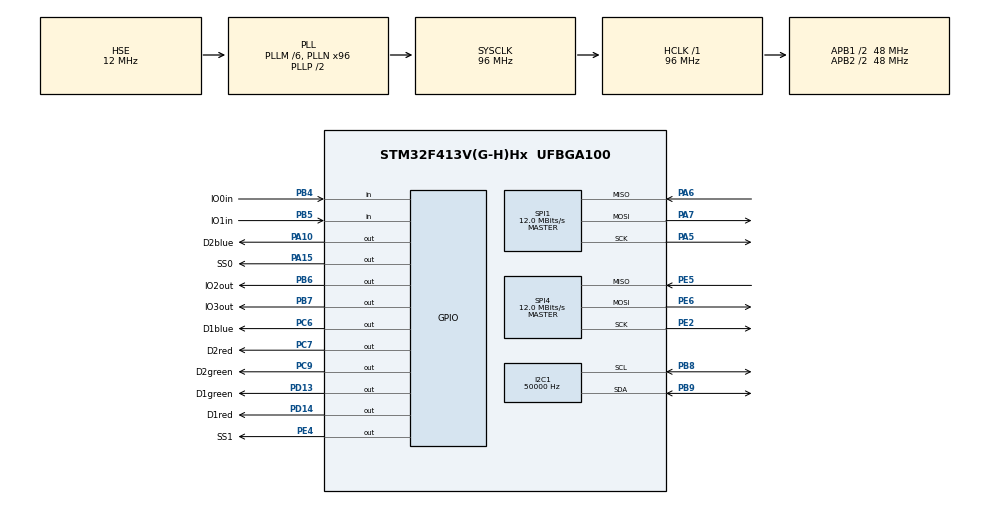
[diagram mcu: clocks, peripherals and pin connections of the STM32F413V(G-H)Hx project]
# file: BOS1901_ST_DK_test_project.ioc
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I2C1.ClockSpeed=50000
I2C1.I2C_Mode=I2C_Standard
Mcu.Family=STM32F4
Mcu.Name=STM32F413V(G-H)Hx
Mcu.Package=UFBGA100
NVIC.PriorityGroup=NVIC_PRIORITYGROUP_4
NVIC.TIM2_IRQn=true\:0\:0\:false\:false\:true\:true\:true
PA10.GPIO_Label=D2blue
PA10.PinState=GPIO_PIN_SET
PA10.Signal=GPIO_Output
PA13.Mode=Serial_Wire
PA13.Signal=SYS_JTMS-SWDIO
PA14.Mode=Serial_Wire
PA14.Signal=SYS_JTCK-SWCLK
PA15.GPIO_Label=SS0
PA15.GPIO_Speed=GPIO_SPEED_FREQ_VERY_HIGH
PA15.PinState=GPIO_PIN_SET
PA15.Signal=GPIO_Output
PA5.Mode=Full_Duplex_Master
PA5.Signal=SPI1_SCK
PA6.Mode=Full_Duplex_Master
PA6.Signal=SPI1_MISO
PA7.Mode=Full_Duplex_Master
PA7.Signal=SPI1_MOSI
PB4.GPIO_Label=IO0in
PB4.Signal=GPIO_Input
PB5.GPIO_Label=IO1in
PB5.Signal=GPIO_Input
PB6.GPIO_Label=IO2out
PB6.Signal=GPIO_Output
PB7.GPIO_Label=IO3out
PB7.Signal=GPIO_Output
PB8.Mode=I2C
PB8.Signal=I2C1_SCL
PB9.Mode=I2C
PB9.Signal=I2C1_SDA
PC6.GPIO_Label=D1blue
PC6.PinState=GPIO_PIN_SET
PC6.Signal=GPIO_Output
PC7.GPIO_Label=D2red
PC7.PinState=GPIO_PIN_SET
PC7.Signal=GPIO_Output
PC9.GPIO_Label=D2green
PC9.PinState=GPIO_PIN_SET
PC9.Signal=GPIO_Output
PD13.GPIO_Label=D1green
PD13.PinState=GPIO_PIN_SET
PD13.Signal=GPIO_Output
PD14.GPIO_Label=D1red
PD14.PinState=GPIO_PIN_SET
PD14.Signal=GPIO_Output
PE2.Mode=Full_Duplex_Master
PE2.Signal=SPI4_SCK
PE4.GPIO_Label=SS1
PE4.GPIO_Speed=GPIO_SPEED_FREQ_VERY_HIGH
PE4.PinState=GPIO_PIN_SET
PE4.Signal=GPIO_Output
PE5.Mode=Full_Duplex_Master
PE5.Signal=SPI4_MISO
PE6.Mode=Full_Duplex_Master
PE6.Signal=SPI4_MOSI
PH0\ -\ OSC_IN.Mode=HSE-External-Clock-Source
PH0\ -\ OSC_IN.Signal=RCC_OSC_IN
PH1\ -\ OSC_OUT.Mode=HSE-External-Clock-Source
PH1\ -\ OSC_OUT.Signal=RCC_OSC_OUT
ProjectManager.HeapSize=0x200
ProjectManager.StackSize=0x400
ProjectManager.TargetToolchain=STM32CubeIDE
RCC.AHBFreq_Value=96000000
RCC.APB1CLKDivider=RCC_HCLK_DIV2
RCC.APB1Freq_Value=48000000
RCC.APB1TimFreq_Value=96000000
RCC.APB2CLKDivider=RCC_HCLK_DIV2
RCC.APB2Freq_Value=48000000
RCC.APB2TimFreq_Value=96000000
RCC.CortexFreq_Value=96000000
RCC.HCLKFreq_Value=96000000
RCC.HSE_VALUE=12000000
RCC.PLLM=6
RCC.PLLN=96
RCC.PLLSourceVirtual=RCC_PLLSOURCE_HSE
RCC.SYSCLKFreq_VALUE=96000000
RCC.SYSCLKSource=RCC_SYSCLKSOURCE_PLLCLK
RCC.USBFreq_Value=96000000
RCC.VCOOutputFreq_Value=192000000
SPI1.BaudRatePrescaler=SPI_BAUDRATEPRESCALER_4
SPI1.CalculateBaudRate=12.0 MBits/s
SPI1.DataSize=SPI_DATASIZE_16BIT
SPI1.Direction=SPI_DIRECTION_2LINES
SPI1.Mode=SPI_MODE_MASTER
SPI1.VirtualType=VM_MASTER
SPI4.BaudRatePrescaler=SPI_BAUDRATEPRESCALER_4
SPI4.CalculateBaudRate=12.0 MBits/s
SPI4.DataSize=SPI_DATASIZE_16BIT
SPI4.Direction=SPI_DIRECTION_2LINES
SPI4.Mode=SPI_MODE_MASTER
SPI4.VirtualType=VM_MASTER
TIM2.AutoReloadPreload=TIM_AUTORELOAD_PRELOAD_ENABLE
TIM2.CounterMode=TIM_COUNTERMODE_UP
TIM2.Period=125-1
TIM2.Prescaler=96-1
VP_TIM2_VS_ClockSourceINT.Mode=Internal
board=custom

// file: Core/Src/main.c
/* USER CODE BEGIN Header */
/**
  ******************************************************************************
  * @file           : main.c
  * @brief          : Main program body
  ******************************************************************************
  * @attention
  *
  * Copyright (c) 2021 STMicroelectronics.
  * All rights reserved.
  *
  * This software is licensed under terms that can be found in the LICENSE file
  * in the root directory of this software component.
  * If no LICENSE file comes with this software, it is provided AS-IS.
  *
  ******************************************************************************
  */
/* USER CODE END Header */
#include "main.h"

/* USER CODE BEGIN Includes */

#include <stdint.h>

#include "example.h"

#include "spi.h"
#include "ledEx.h"
#include "gpioEx.h"
#include "timeEx.h"

/* USER CODE END Includes */

I2C_HandleTypeDef hi2c1;

SPI_HandleTypeDef hspi1;
SPI_HandleTypeDef hspi4;

TIM_HandleTypeDef htim2;

/* USER CODE BEGIN PV */

/********************************************************
*					    VARIABLES
********************************************************/
volatile uint32_t timer2DefaultPeriod = 0;
volatile uint32_t timer2NewPeriod = 0;

/* USER CODE END PV */

void SystemClock_Config(void);
static void MX_GPIO_Init(void);
static void MX_TIM2_Init(void);
static void MX_SPI1_Init(void);
static void MX_I2C1_Init(void);
static void MX_SPI4_Init(void);

/* USER CODE BEGIN 0 */

/********************************************************
*						MAIN
********************************************************/

/* USER CODE END 0 */

int main(void)
{

  /* MCU Configuration--------------------------------------------------------*/

  /* Reset of all peripherals, Initializes the Flash interface and the Systick. */
  HAL_Init();

  /* Configure the system clock */
  SystemClock_Config();

  /* Initialize all configured peripherals */
  MX_GPIO_Init();
  MX_TIM2_Init();
  MX_SPI1_Init();
  MX_I2C1_Init();
  MX_SPI4_Init();
  /* USER CODE BEGIN 2 */

  HAL_TIM_Base_Start_IT(&htim2);

    spiInit();		    // Init SPI Configuration
    ioExpanderConfig(); // Init IoExpander for BOS1901 channel LEDs

  /* USER CODE END 2 */

  /* Infinite loop */
  /* USER CODE BEGIN WHILE */

    // colors testing
	ledExWrite(LEDEX_D1, color_green);

	// run example code
	example();

	/* USER CODE END WHILE */

}

void SystemClock_Config(void)
{
  RCC_OscInitTypeDef RCC_OscInitStruct = {0};
  RCC_ClkInitTypeDef RCC_ClkInitStruct = {0};

  /** Configure the main internal regulator output voltage
  */
  __HAL_RCC_PWR_CLK_ENABLE();
  __HAL_PWR_VOLTAGESCALING_CONFIG(PWR_REGULATOR_VOLTAGE_SCALE1);
  /** Initializes the RCC Oscillators according to the specified parameters
  * in the RCC_OscInitTypeDef structure.
  */
  RCC_OscInitStruct.OscillatorType = RCC_OSCILLATORTYPE_HSE;
  RCC_OscInitStruct.HSEState = RCC_HSE_BYPASS;
  RCC_OscInitStruct.PLL.PLLState = RCC_PLL_ON;
  RCC_OscInitStruct.PLL.PLLSource = RCC_PLLSOURCE_HSE;
  RCC_OscInitStruct.PLL.PLLM = 6;
  RCC_OscInitStruct.PLL.PLLN = 96;
  RCC_OscInitStruct.PLL.PLLP = RCC_PLLP_DIV2;
  RCC_OscInitStruct.PLL.PLLQ = 2;
  RCC_OscInitStruct.PLL.PLLR = 2;
  if (HAL_RCC_OscConfig(&RCC_OscInitStruct) != HAL_OK)
  {
    Error_Handler();
  }
  /** Initializes the CPU, AHB and APB buses clocks
  */
  RCC_ClkInitStruct.ClockType = RCC_CLOCKTYPE_HCLK|RCC_CLOCKTYPE_SYSCLK
                              |RCC_CLOCKTYPE_PCLK1|RCC_CLOCKTYPE_PCLK2;
  RCC_ClkInitStruct.SYSCLKSource = RCC_SYSCLKSOURCE_PLLCLK;
  RCC_ClkInitStruct.AHBCLKDivider = RCC_SYSCLK_DIV1;
  RCC_ClkInitStruct.APB1CLKDivider = RCC_HCLK_DIV2;
  RCC_ClkInitStruct.APB2CLKDivider = RCC_HCLK_DIV2;

  if (HAL_RCC_ClockConfig(&RCC_ClkInitStruct, FLASH_LATENCY_3) != HAL_OK)
  {
    Error_Handler();
  }
}

static void MX_I2C1_Init(void)
{

  hi2c1.Instance = I2C1;
  hi2c1.Init.ClockSpeed = 50000;
  hi2c1.Init.DutyCycle = I2C_DUTYCYCLE_2;
  hi2c1.Init.OwnAddress1 = 0;
  hi2c1.Init.AddressingMode = I2C_ADDRESSINGMODE_7BIT;
  hi2c1.Init.DualAddressMode = I2C_DUALADDRESS_DISABLE;
  hi2c1.Init.OwnAddress2 = 0;
  hi2c1.Init.GeneralCallMode = I2C_GENERALCALL_DISABLE;
  hi2c1.Init.NoStretchMode = I2C_NOSTRETCH_DISABLE;
  if (HAL_I2C_Init(&hi2c1) != HAL_OK)
  {
    Error_Handler();
  }

}

static void MX_SPI1_Init(void)
{

  /* USER CODE BEGIN SPI1_Init 0 */
//	HAL_GPIO_WritePin(GPIOA, GPIO_PIN_15, 1);

  /* USER CODE END SPI1_Init 0 */

  /* SPI1 parameter configuration*/
  hspi1.Instance = SPI1;
  hspi1.Init.Mode = SPI_MODE_MASTER;
  hspi1.Init.Direction = SPI_DIRECTION_2LINES;
  hspi1.Init.DataSize = SPI_DATASIZE_16BIT;
  hspi1.Init.CLKPolarity = SPI_POLARITY_LOW;
  hspi1.Init.CLKPhase = SPI_PHASE_1EDGE;
  hspi1.Init.NSS = SPI_NSS_SOFT;
  hspi1.Init.BaudRatePrescaler = SPI_BAUDRATEPRESCALER_4;
  hspi1.Init.FirstBit = SPI_FIRSTBIT_MSB;
  hspi1.Init.TIMode = SPI_TIMODE_DISABLE;
  hspi1.Init.CRCCalculation = SPI_CRCCALCULATION_DISABLE;
  hspi1.Init.CRCPolynomial = 10;
  if (HAL_SPI_Init(&hspi1) != HAL_OK)
  {
    Error_Handler();
  }

}

static void MX_SPI4_Init(void)
{

  /* SPI4 parameter configuration*/
  hspi4.Instance = SPI4;
  hspi4.Init.Mode = SPI_MODE_MASTER;
  hspi4.Init.Direction = SPI_DIRECTION_2LINES;
  hspi4.Init.DataSize = SPI_DATASIZE_16BIT;
  hspi4.Init.CLKPolarity = SPI_POLARITY_LOW;
  hspi4.Init.CLKPhase = SPI_PHASE_1EDGE;
  hspi4.Init.NSS = SPI_NSS_SOFT;
  hspi4.Init.BaudRatePrescaler = SPI_BAUDRATEPRESCALER_4;
  hspi4.Init.FirstBit = SPI_FIRSTBIT_MSB;
  hspi4.Init.TIMode = SPI_TIMODE_DISABLE;
  hspi4.Init.CRCCalculation = SPI_CRCCALCULATION_DISABLE;
  hspi4.Init.CRCPolynomial = 10;
  if (HAL_SPI_Init(&hspi4) != HAL_OK)
  {
    Error_Handler();
  }

}

static void MX_TIM2_Init(void)
{

  TIM_ClockConfigTypeDef sClockSourceConfig = {0};
  TIM_MasterConfigTypeDef sMasterConfig = {0};

  htim2.Instance = TIM2;
  htim2.Init.Prescaler = 96-1;
  htim2.Init.CounterMode = TIM_COUNTERMODE_UP;
  htim2.Init.Period = 125-1;
  htim2.Init.ClockDivision = TIM_CLOCKDIVISION_DIV1;
  htim2.Init.AutoReloadPreload = TIM_AUTORELOAD_PRELOAD_ENABLE;
  if (HAL_TIM_Base_Init(&htim2) != HAL_OK)
  {
    Error_Handler();
  }
  sClockSourceConfig.ClockSource = TIM_CLOCKSOURCE_INTERNAL;
  if (HAL_TIM_ConfigClockSource(&htim2, &sClockSourceConfig) != HAL_OK)
  {
    Error_Handler();
  }
  sMasterConfig.MasterOutputTrigger = TIM_TRGO_RESET;
  sMasterConfig.MasterSlaveMode = TIM_MASTERSLAVEMODE_DISABLE;
  if (HAL_TIMEx_MasterConfigSynchronization(&htim2, &sMasterConfig) != HAL_OK)
  {
    Error_Handler();
  }
  /* USER CODE BEGIN TIM2_Init 2 */

#ifdef EXAMPLE_ADVSENSING
  // set period to 1ms for this example
  __HAL_TIM_SET_AUTORELOAD(&htim2, ADVSENSING_SAMPLING_PERIOD-1);
#endif

  timer2DefaultPeriod = htim2.Init.Period;
  timer2NewPeriod = timer2DefaultPeriod;
  timeSetUsIncrement(timer2DefaultPeriod+1);

  /* USER CODE END TIM2_Init 2 */

}

static void MX_GPIO_Init(void)
{
  GPIO_InitTypeDef GPIO_InitStruct = {0};

  /* GPIO Ports Clock Enable */
  __HAL_RCC_GPIOB_CLK_ENABLE();
  __HAL_RCC_GPIOA_CLK_ENABLE();
  __HAL_RCC_GPIOE_CLK_ENABLE();
  __HAL_RCC_GPIOC_CLK_ENABLE();
  __HAL_RCC_GPIOH_CLK_ENABLE();
  __HAL_RCC_GPIOD_CLK_ENABLE();

  /*Configure GPIO pin Output Level */
  HAL_GPIO_WritePin(GPIOA, SS0_Pin|D2blue_Pin, GPIO_PIN_SET);

  /*Configure GPIO pin Output Level */
  HAL_GPIO_WritePin(SS1_GPIO_Port, SS1_Pin, GPIO_PIN_SET);

  /*Configure GPIO pin Output Level */
  HAL_GPIO_WritePin(GPIOB, IO3out_Pin|IO2out_Pin, GPIO_PIN_RESET);

  /*Configure GPIO pin Output Level */
  HAL_GPIO_WritePin(GPIOC, D2green_Pin|D2red_Pin|D1blue_Pin, GPIO_PIN_SET);

  /*Configure GPIO pin Output Level */
  HAL_GPIO_WritePin(GPIOD, D1red_Pin|D1green_Pin, GPIO_PIN_SET);

  /*Configure GPIO pins : IO0in_Pin IO1in_Pin */
  GPIO_InitStruct.Pin = IO0in_Pin|IO1in_Pin;
  GPIO_InitStruct.Mode = GPIO_MODE_INPUT;
  GPIO_InitStruct.Pull = GPIO_NOPULL;
  HAL_GPIO_Init(GPIOB, &GPIO_InitStruct);

  /*Configure GPIO pin : SS0_Pin */
  GPIO_InitStruct.Pin = SS0_Pin;
  GPIO_InitStruct.Mode = GPIO_MODE_OUTPUT_PP;
  GPIO_InitStruct.Pull = GPIO_NOPULL;
  GPIO_InitStruct.Speed = GPIO_SPEED_FREQ_VERY_HIGH;
  HAL_GPIO_Init(SS0_GPIO_Port, &GPIO_InitStruct);

  /*Configure GPIO pin : SS1_Pin */
  GPIO_InitStruct.Pin = SS1_Pin;
  GPIO_InitStruct.Mode = GPIO_MODE_OUTPUT_PP;
  GPIO_InitStruct.Pull = GPIO_NOPULL;
  GPIO_InitStruct.Speed = GPIO_SPEED_FREQ_VERY_HIGH;
  HAL_GPIO_Init(SS1_GPIO_Port, &GPIO_InitStruct);

  /*Configure GPIO pins : IO3out_Pin IO2out_Pin */
  GPIO_InitStruct.Pin = IO3out_Pin|IO2out_Pin;
  GPIO_InitStruct.Mode = GPIO_MODE_OUTPUT_PP;
  GPIO_InitStruct.Pull = GPIO_NOPULL;
  GPIO_InitStruct.Speed = GPIO_SPEED_FREQ_LOW;
  HAL_GPIO_Init(GPIOB, &GPIO_InitStruct);

  /*Configure GPIO pin : D2blue_Pin */
  GPIO_InitStruct.Pin = D2blue_Pin;
  GPIO_InitStruct.Mode = GPIO_MODE_OUTPUT_PP;
  GPIO_InitStruct.Pull = GPIO_NOPULL;
  GPIO_InitStruct.Speed = GPIO_SPEED_FREQ_LOW;
  HAL_GPIO_Init(D2blue_GPIO_Port, &GPIO_InitStruct);

  /*Configure GPIO pins : D2green_Pin D2red_Pin D1blue_Pin */
  GPIO_InitStruct.Pin = D2green_Pin|D2red_Pin|D1blue_Pin;
  GPIO_InitStruct.Mode = GPIO_MODE_OUTPUT_PP;
  GPIO_InitStruct.Pull = GPIO_NOPULL;
  GPIO_InitStruct.Speed = GPIO_SPEED_FREQ_LOW;
  HAL_GPIO_Init(GPIOC, &GPIO_InitStruct);

  /*Configure GPIO pins : D1red_Pin D1green_Pin */
  GPIO_InitStruct.Pin = D1red_Pin|D1green_Pin;
  GPIO_InitStruct.Mode = GPIO_MODE_OUTPUT_PP;
  GPIO_InitStruct.Pull = GPIO_NOPULL;
  GPIO_InitStruct.Speed = GPIO_SPEED_FREQ_LOW;
  HAL_GPIO_Init(GPIOD, &GPIO_InitStruct);

}

/* USER CODE BEGIN 4 */

void HAL_TIM_PeriodElapsedCallback(TIM_HandleTypeDef* htim)
{
	timeSetTimerFlag();
	// timer period change requested
	if(htim->Init.Period != timer2NewPeriod)
	{
		__HAL_TIM_SET_AUTORELOAD(htim, timer2NewPeriod);
		timeSetUsIncrement(timer2NewPeriod+1);
	}
}

/* USER CODE END 4 */

void Error_Handler(void)
{
  __disable_irq();
  while (1)
  {
  }
}
